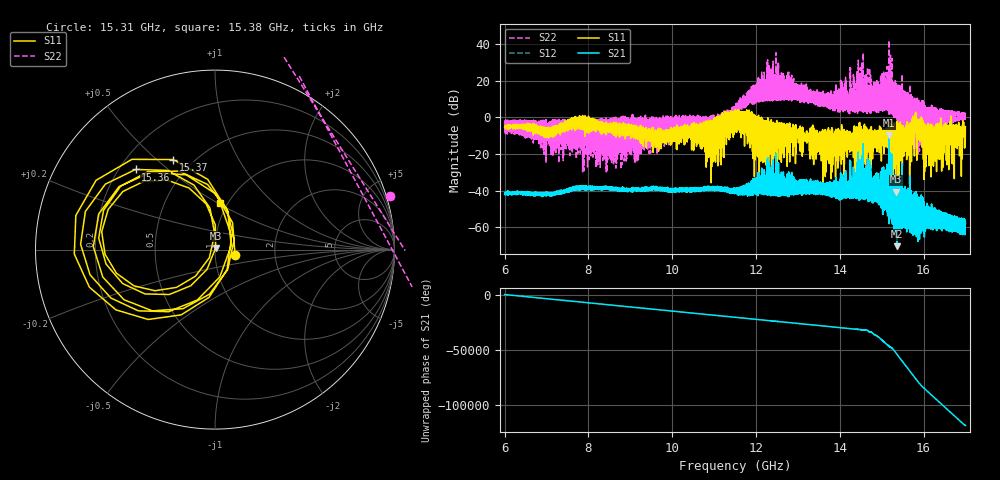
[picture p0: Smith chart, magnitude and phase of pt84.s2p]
#  HZ  S  RI  R  50.00
! Rohde & Schwarz Vector Network Analyzer
! Rohde-Schwarz,ZNA67-2Port,1332450062101215,3.01
! Created: UTC 10/19/2026, 10:11:06 AM
! freq[Hz]  re:S11  im:S11  re:S21  im:S21  re:S12  im:S12  re:S22  im:S22
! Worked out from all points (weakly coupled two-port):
!   11001 points, 6 GHz to 17 GHz, reference 50 ohm
!   highest |S21| = -9.74 dB at 15.18 GHz (marker M1); lowest = -70.2 dB at 15.37 GHz (marker M2)
!   lowest |S11| = -40.5 dB at 15.34 GHz (marker M3), VSWR 1.02, Z = 50.4 + j0.875 ohm
!   |S11| at or under -10 dB: 13.17302 GHz to 13.20112 GHz (28.09 MHz wide, 0.213 % of centre); 13.60904 GHz to 13.64501 GHz (35.97 MHz wide, 0.264 % of centre); 14.27933 GHz to 14.3179 GHz (38.57 MHz wide, 0.27 % of centre) (the widest 3 of 567)
!   |S22| runs from -29.8 to 41.9 dB; largest |S21 - S12| = 0.045
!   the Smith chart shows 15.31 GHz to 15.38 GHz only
!   S11 on the Smith chart (normalised r, x): 15.31 GHz: 1.25, -0.08; 15.36 GHz: 0.27, +0.39; 15.37 GHz: 0.39, +0.57; 15.38 GHz: 0.93, +0.51
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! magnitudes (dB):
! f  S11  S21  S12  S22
! 6 GHz  -5.5  -41.9  -42.0  -4.3
! 7.09 GHz  -6.1  -42.2  -42.1  -4.8
! 7.834 GHz  -3.3  -38.3  -38.2  -1.4
! 9.667 GHz  -6.2  -38.8  -39.1  -1.0
! 10.94 GHz  -1.8  -39.2  -39.2  0.8
! 11.5 GHz  3.7  -40.0  -40.1  3.6
! 12.44 GHz  -4.4  -38.3  -38.4  13.2
! 13.33 GHz  -12.3  -38.7  -38.7  10.4
! 13.88 GHz  -16.0  -42.9  -43.0  3.6
! 15.17 GHz  -17.0  -48.6  -48.7  6.1
! 15.18 GHz  -9.3  -9.7  -9.9  41.9
! 15.31 GHz  -18.6  -55.6  -55.7  0.2
! 15.34 GHz  -40.5  -48.6  -48.4  3.2
! 15.36 GHz  -4.0  -46.2  -46.2  6.7
! 15.37 GHz  -20.6  -70.2  -70.1  -0.2
! 15.37 GHz  -5.1  -46.3  -46.2  6.2
! 15.38 GHz  -11.7  -46.5  -46.3  5.1
! 15.68 GHz  -3.4  -47.6  -47.6  3.9
! 15.78 GHz  -13.1  -41.1  -41.1  10.4
! 16.23 GHz  -7.9  -52.6  -52.6  2.6
! 16.86 GHz  -18.8  -56.3  -56.5  2.8
! 17 GHz  -5.1  -58.2  -58.3  1.7
